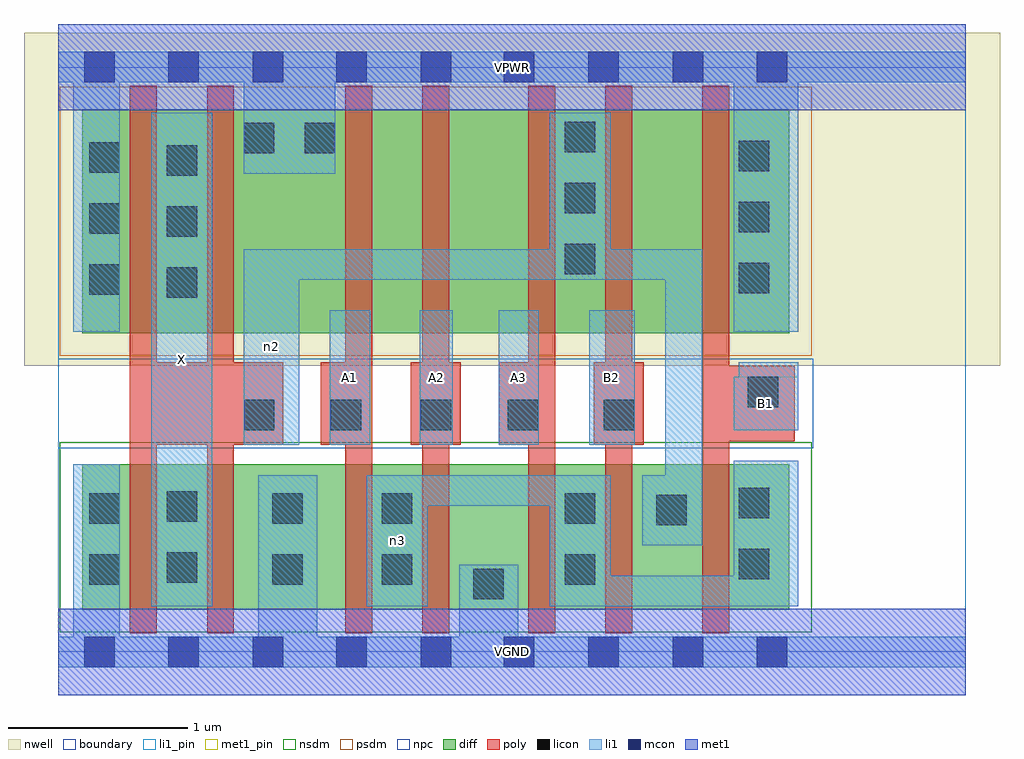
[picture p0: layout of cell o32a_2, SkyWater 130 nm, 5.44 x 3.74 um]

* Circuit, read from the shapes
.subckt o32a_2 A1 A2 A3 B1 B2 VGND VPWR X n2 n3
XM1 X n2 VGND VSUBS sky130_fd_pr__nfet_01v8 w=0.81 l=0.15 m=2
XM2 n3 A1 VGND VSUBS sky130_fd_pr__nfet_01v8 w=0.81 l=0.15
XM3 VGND A2 n3 VSUBS sky130_fd_pr__nfet_01v8 w=0.81 l=0.15
XM4 n3 A3 VGND VSUBS sky130_fd_pr__nfet_01v8 w=0.81 l=0.15
XM5 n2 B2 n3 VSUBS sky130_fd_pr__nfet_01v8 w=0.81 l=0.15
XM6 n3 B1 n2 VSUBS sky130_fd_pr__nfet_01v8 w=0.81 l=0.15
XM7 X n2 VPWR n1 sky130_fd_pr__pfet_01v8 w=1.25 l=0.15 m=2
XM8 n4 A1 VPWR n1 sky130_fd_pr__pfet_01v8 w=1.25 l=0.15
XM9 n5 A2 n4 n1 sky130_fd_pr__pfet_01v8 w=1.25 l=0.15
XM10 n2 A3 n5 n1 sky130_fd_pr__pfet_01v8 w=1.25 l=0.15
XM11 n6 B2 n2 n1 sky130_fd_pr__pfet_01v8 w=1.25 l=0.15
XM12 VPWR B1 n6 n1 sky130_fd_pr__pfet_01v8 w=1.25 l=0.15
.ends

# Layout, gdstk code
import gdstk
lib = gdstk.Library(unit=1e-6, precision=1e-09)
def R(c, l, rs):  # rectangles x0, y0, x1, y1
    for r in rs: c.add(gdstk.rectangle(r[:2], r[2:], *l))
def A(c, l, x, y, w, h, nx, ny, dx, dy):  # array of equal rectangles
    R(c, l, [(x+i*dx, y+j*dy, x+i*dx+w, y+j*dy+h) for i in range(nx) for j in range(ny)])
nwell = (64, 20)
diff = (65, 20)
poly = (66, 20)
licon = (66, 44)
li1_pin = (67, 16)
li1 = (67, 20)
mcon = (67, 44)
met1_pin = (68, 16)
met1 = (68, 20)
nsdm = (93, 44)
psdm = (94, 20)
npc = (95, 20)
boundary = (235, 4)

o32a_2 = lib.new_cell('o32a_2')
R(o32a_2, nwell, [(-0.19,1.595,5.25,3.45), (0,1.595,5.06,3.45)])
R(o32a_2, diff, [(0.135,0.235,4.075,1.045), (0.135,1.775,4.075,3.025)])
R(o32a_2, poly, [(0.4,0.105,0.55,3.155), (0.83,0.105,0.98,3.155), (1.6,0.105,1.75,3.155), (2.03,0.105,2.18,3.155), (2.62,0.105,2.77,3.155), (3.05,0.105,3.2,3.155), (3.59,0.105,3.74,3.155), (0.4,1.155,1.255,1.615), (1.465,1.155,1.75,1.615), (1.965,1.155,2.245,1.615), (2.455,1.155,2.77,1.615), (2.985,1.155,3.265,1.615), (3.59,1.175,4.105,1.595)])
A(o32a_2, licon, 0.605, 1.975, 0.17, 0.17, 1, 3, 0, 0.34)
A(o32a_2, licon, 0.175, 1.99, 0.17, 0.17, 1, 3, 0, 0.34)
A(o32a_2, licon, 3.795, 2, 0.17, 0.17, 1, 3, 0, 0.34)
A(o32a_2, licon, 2.825, 2.105, 0.17, 0.17, 1, 3, 0, 0.34)
R(o32a_2, licon, [(2.315,0.295,2.485,0.465), (0.175,0.375,0.345,0.545), (1.195,0.375,1.365,0.545), (1.805,0.375,1.975,0.545), (2.825,0.375,2.995,0.545), (0.605,0.385,0.775,0.555), (3.795,0.405,3.965,0.575), (3.335,0.705,3.505,0.875), (0.175,0.715,0.345,0.885), (1.195,0.715,1.365,0.885), (1.805,0.715,1.975,0.885), (2.825,0.715,2.995,0.885), (0.605,0.725,0.775,0.895), (3.795,0.745,3.965,0.915), (1.035,1.235,1.205,1.405), (1.52,1.235,1.69,1.405), (2.02,1.235,2.19,1.405), (2.505,1.235,2.675,1.405), (3.04,1.235,3.21,1.405), (3.845,1.365,4.015,1.535), (1.035,2.78,1.205,2.95), (1.375,2.78,1.545,2.95)])
R(o32a_2, li1_pin, [(0.52,0.255,0.86,3.005), (1.515,1.155,1.74,1.905), (2.015,1.155,2.2,1.905), (2.455,1.155,2.68,1.905), (2.96,1.155,3.215,1.905), (3.765,1.235,4.125,1.535)])
R(o32a_2, li1, [(0,-0.085,5.06,0.085), (0.085,-0.085,0.345,1.045), (1.115,-0.085,1.445,0.985), (2.235,-0.085,2.565,0.485), (0.52,0.255,0.86,3.005), (1.72,0.255,2.06,0.985), (2.74,0.255,3.08,0.985), (2.74,0.255,4.125,0.425), (3.765,0.255,4.125,1.065), (3.255,0.595,3.59,0.985), (3.385,0.595,3.59,2.245), (1.72,0.815,3.08,0.985), (1.035,1.155,1.345,2.245), (1.515,1.155,1.74,1.905), (2.015,1.155,2.2,1.905), (2.455,1.155,2.68,1.905), (2.96,1.155,3.215,1.905), (3.765,1.235,4.125,1.535), (3.795,1.235,4.125,1.615), (0.085,1.785,0.345,3.345), (3.765,1.785,4.125,3.345), (1.035,2.075,3.59,2.245), (2.74,2.075,3.08,3.005), (1.035,2.665,1.545,3.345), (0,3.175,5.06,3.345)])
A(o32a_2, mcon, 0.145, -0.085, 0.17, 0.17, 3, 2, 0.47, 3.26)
A(o32a_2, mcon, 2.485, -0.085, 0.17, 0.17, 4, 2, 0.47, 3.26)
R(o32a_2, mcon, [(1.55,-0.085,1.72,0.085), (2.02,-0.085,2.19,0.085), (1.55,3.175,1.72,3.345), (2.02,3.175,2.19,3.345)])
R(o32a_2, met1_pin, [(0,-0.24,5.06,0.24), (0,3.02,5.06,3.5)])
R(o32a_2, met1, [(0,-0.24,5.06,0.24), (0,3.02,5.06,3.5)])
R(o32a_2, nsdm, [(0.01,0.11,4.2,1.17)])
R(o32a_2, psdm, [(0.01,1.65,4.2,3.15)])
R(o32a_2, npc, [(0,1.135,4.21,1.635)])
R(o32a_2, boundary, [(0,0,5.06,3.26)])
o32a_2.add(gdstk.Label('A1', (1.627,1.53), layer=67, texttype=5))
o32a_2.add(gdstk.Label('A2', (2.107,1.53), layer=67, texttype=5))
o32a_2.add(gdstk.Label('A3', (2.567,1.53), layer=67, texttype=5))
o32a_2.add(gdstk.Label('B1', (3.945,1.385), layer=67, texttype=5))
o32a_2.add(gdstk.Label('B2', (3.087,1.53), layer=67, texttype=5))
o32a_2.add(gdstk.Label('X', (0.69,1.63), layer=67, texttype=5))
o32a_2.add(gdstk.Label('n3', (1.89,0.62), layer=67, texttype=5))
o32a_2.add(gdstk.Label('n2', (1.19,1.7), layer=67, texttype=5))
o32a_2.add(gdstk.Label('VPWR', (2.53,3.26), layer=68, texttype=5))
o32a_2.add(gdstk.Label('VGND', (2.53,0), layer=68, texttype=5))
o32a_2.add(gdstk.Label('A1', (1.627,1.53), layer=67, texttype=16))
o32a_2.add(gdstk.Label('A2', (2.107,1.53), layer=67, texttype=16))
o32a_2.add(gdstk.Label('A3', (2.567,1.53), layer=67, texttype=16))
o32a_2.add(gdstk.Label('B1', (3.945,1.385), layer=67, texttype=16))
o32a_2.add(gdstk.Label('B2', (3.087,1.53), layer=67, texttype=16))
o32a_2.add(gdstk.Label('X', (0.69,1.63), layer=67, texttype=16))
o32a_2.add(gdstk.Label('VPWR', (2.53,3.26), layer=68, texttype=16))
o32a_2.add(gdstk.Label('VGND', (2.53,0), layer=68, texttype=16))

lib.write_gds('o32a_2.gds')
